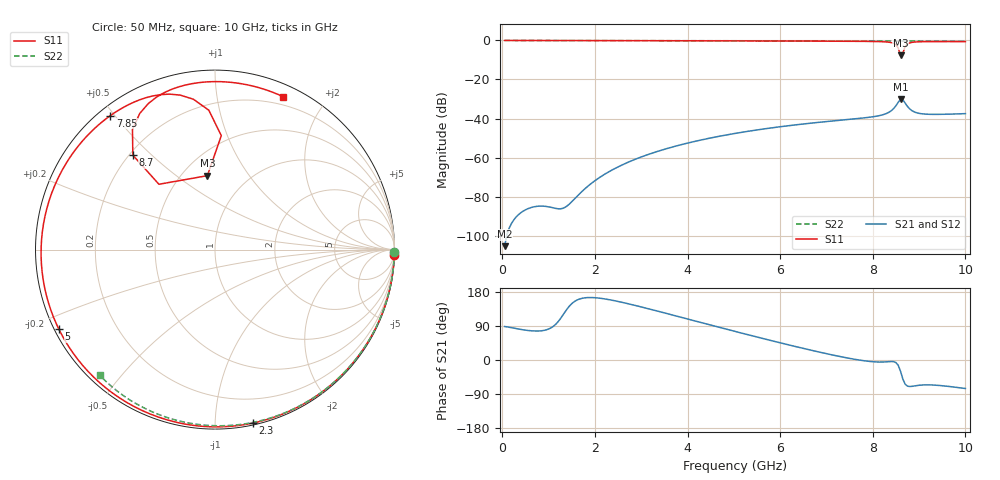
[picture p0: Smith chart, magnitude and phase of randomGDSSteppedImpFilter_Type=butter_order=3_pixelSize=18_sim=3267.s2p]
! freq	dB(S11)	phase(S11)	dB(S12)	phase(S12)
!  dB(S21)	phase(S21)	dB(S22)	phase(S22)
!S-par simulation data
#  GHz  S  DB  R 50
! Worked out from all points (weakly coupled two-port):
!   200 points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, 50 MHz to 10 GHz, reference 50 ohm
!   highest |S21| = -30.16 dB at 8.6 GHz (marker M1); lowest = -105.4 dB at 50 MHz (marker M2)
!   lowest |S11| = -7.7 dB at 8.6 GHz (marker M3), VSWR 2.41, Z = 33 + j32.8 ohm
!   |S11| at or under -10 dB: nowhere
!   |S22| runs from -0.4 to 0.0 dB; largest |S21 - S12| = 0
!   S11 on the Smith chart (normalised r, x): 50 MHz: 0, -64; 2.3 GHz: 0.01, -1.24; 5 GHz: 0.01, -0.24; 7.85 GHz: 0.03, +0.49; 8.7 GHz: 0.21, +0.44; 10 GHz: 0.12, +1.53
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0.05  -0.00 -1.8  -105.39 88.3  -105.39 88.3  -0.00 -0.8
0.75  -0.03 -26.5  -84.97 76.4  -84.97 76.4  -0.01 -11.4
1.6  -0.07 -55.3  -80.19 157.4  -80.19 157.4  -0.03 -24.2
1.75  -0.07 -60.2  -76.70 163.4  -76.70 163.4  -0.03 -26.5
2.3  -0.09 -77.7  -67.29 159.4  -67.29 159.4  -0.04 -34.6
3.4  -0.13 -110.1  -56.47 127.5  -56.47 127.5  -0.07 -50.4
4.2  -0.17 -132.1  -51.47 101.8  -51.47 101.8  -0.09 -61.5
5  -0.21 -153.1  -47.73 76.3  -47.73 76.3  -0.11 -72.2
5.05  -0.21 -154.4  -47.53 74.7  -47.53 74.7  -0.11 -72.9
5.9  -0.26 -176.5  -44.51 48.4  -44.51 48.4  -0.14 -83.9
6.7  -0.33 162.1  -42.27 24.9  -42.27 24.9  -0.18 -93.9
7.85  -0.47 128.0  -39.56 -2.6  -39.56 -2.6  -0.25 -107.8
8.35  -0.89 106.3  -36.78 -4.4  -36.78 -4.4  -0.29 -113.6
8.5  -2.19 92.5  -33.45 -6.7  -33.45 -6.7  -0.30 -115.4
8.55  -3.93 86.8  -31.64 -14.0  -31.64 -14.0  -0.31 -116.0
8.6  -7.66 95.9  -30.16 -30.0  -30.16 -30.0  -0.31 -116.5
8.65  -6.38 130.6  -30.42 -50.5  -30.42 -50.5  -0.31 -117.1
8.7  -3.13 131.0  -32.11 -63.9  -32.11 -63.9  -0.32 -117.7
8.85  -0.97 114.5  -36.03 -69.4  -36.03 -69.4  -0.33 -119.4
9.05  -0.64 102.6  -37.54 -66.1  -37.54 -66.1  -0.35 -121.7
9.5  -0.57 84.3  -37.84 -67.9  -37.84 -67.9  -0.39 -126.9
10  -0.61 66.0  -37.49 -75.2  -37.49 -75.2  -0.45 -132.6
